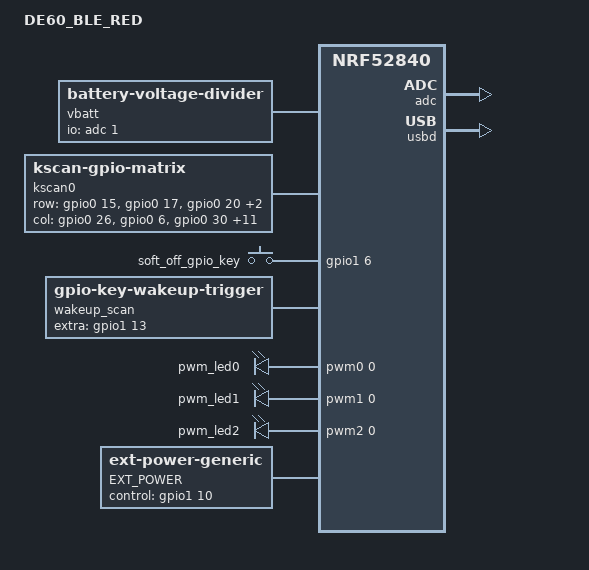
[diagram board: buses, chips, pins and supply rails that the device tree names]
/*
 * Copyright (c) 2025 Deemen17 Works
 *
 * SPDX-License-Identifier: MIT
 */

/dts-v1/;
#include <nordic/nrf52840_qiaa.dtsi>
#include <dt-bindings/led/led.h>

#include "de60_ble_red_test-pinctrl.dtsi"
#include "de60_ble_red_test-layouts.dtsi"
#include "de60_ble_red_test-transforms.dtsi"

/ {
    model = "DE60_BLE_RED";
    compatible = "deemen17,de60", "nordic,nrf52840";

    chosen {
        zephyr,code-partition = &code_partition;
        zephyr,sram = &sram0;
        zephyr,flash = &flash0;
        zmk,kscan = &kscan0;
        zmk,battery = &vbatt;
        zmk,underglow = &led_strip;
        zmk,studio-rpc-uart = &cdc_acm_uart;
        // zephyr,console = &cdc_acm_uart;
    };

    vbatt: vbatt {
        compatible = "zmk,battery-voltage-divider";
        io-channels = <&adc 1>; // P0.30
        output-ohms = <2000000>;
        full-ohms = <(1000000 + 2000000)>;
    };

    kscan0: kscan {
        compatible = "zmk,kscan-gpio-matrix";
        wakeup-source;
        diode-direction = "col2row";
        row-gpios
            = <&gpio0 15 (GPIO_ACTIVE_HIGH | GPIO_PULL_DOWN)>
            , <&gpio0 17 (GPIO_ACTIVE_HIGH | GPIO_PULL_DOWN)>
            , <&gpio0 20 (GPIO_ACTIVE_HIGH | GPIO_PULL_DOWN)>
            , <&gpio0 12 (GPIO_ACTIVE_HIGH | GPIO_PULL_DOWN)>
            , <&gpio1 6  (GPIO_ACTIVE_HIGH | GPIO_PULL_DOWN)>
            ;
        col-gpios
            = <&gpio0 26 GPIO_ACTIVE_HIGH>
            , <&gpio0 6  GPIO_ACTIVE_HIGH>
            , <&gpio0 30 GPIO_ACTIVE_HIGH>
            , <&gpio0 31 GPIO_ACTIVE_HIGH>
            , <&gpio0 29 GPIO_ACTIVE_HIGH>
            , <&gpio0 2  GPIO_ACTIVE_HIGH>
            , <&gpio1 13 GPIO_ACTIVE_HIGH>
            , <&gpio0 28 GPIO_ACTIVE_HIGH>
            , <&gpio0 8  GPIO_ACTIVE_HIGH>
            , <&gpio0 7  GPIO_ACTIVE_HIGH>
            , <&gpio1 4  GPIO_ACTIVE_HIGH>
            , <&gpio1 2  GPIO_ACTIVE_HIGH>
            , <&gpio1 0  GPIO_ACTIVE_HIGH>
            , <&gpio0 22 GPIO_ACTIVE_HIGH>
            ;
    };


/* --- Wakeup after Soft-off using SPACE key --- */    
    keys {
        compatible = "gpio-keys";
        soft_off_gpio_key: soft_off_gpio_key {
            gpios = <&gpio1 6 (GPIO_ACTIVE_HIGH | GPIO_PULL_DOWN)>; // row4
        };
    };

    wakeup_scan: wakeup_scan {
        compatible = "zmk,gpio-key-wakeup-trigger";
        trigger = <&soft_off_gpio_key>;
        wakeup-source;
        extra-gpios = <&gpio1 13 GPIO_ACTIVE_HIGH>; // col6
    };

    soft_off_wakers {
        compatible = "zmk,soft-off-wakeup-sources";
        wakeup-sources = <&wakeup_scan>;
    };

/* --- LED indicators --- */
    aliases {
        pwm-led-red = &pwm_led0;
		pwm-led-green = &pwm_led1;
        pwm-led-blue = &pwm_led2;
    };

	pwmleds {
		compatible = "pwm-leds";
		pwm_led0: pwm_led_0 {
			pwms = <&pwm0 0 10000 PWM_POLARITY_INVERTED>;
		};

		pwm_led1: pwm_led_1 {
			pwms = <&pwm1 0 10000 PWM_POLARITY_INVERTED>;
		};

		pwm_led2: pwm_led_2 {
			pwms = <&pwm2 0 10000 PWM_POLARITY_INVERTED>;
		};
	};

    ext-power {
        compatible = "zmk,ext-power-generic";
        label = "EXT_POWER";
        control-gpios = <&gpio1 10 GPIO_ACTIVE_HIGH>;
    };

};

&gpio0 {
    status = "okay";
};

&gpio1 {
    status = "okay";
};

&adc {
    status = "okay";
};

zephyr_udc0: &usbd {
    status = "okay";
};

&usbd {
    status = "okay";
    cdc_acm_uart: cdc_acm_uart {
        compatible = "zephyr,cdc-acm-uart";
    };
};

&flash0 {
    /*
     * For more information, see:
     * http://docs.zephyrproject.org/latest/devices/dts/flash_partitions.html
     */
    partitions {
        compatible = "fixed-partitions";
        #address-cells = <1>;
        #size-cells = <1>;

        sd_partition: partition@0 {
            label = "softdevice";
            reg = <0x00000000 0x00026000>;
        };
        code_partition: partition@26000 {
            label = "code_partition";
            reg = <0x00026000 0x000c6000>;
        };

        /*
         * The flash starting at 0x000ec000 and ending at
         * 0x000f3fff is reserved for use by the application.
         */

        /*
         * Storage partition will be used by FCB/LittleFS/NVS
         * if enabled.
         */
        storage_partition: partition@ec000 {
            label = "storage";
            reg = <0x000ec000 0x00008000>;
        };

        boot_partition: partition@f4000 {
            label = "adafruit_boot";
            reg = <0x000f4000 0x0000c000>;
        };
    };
};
